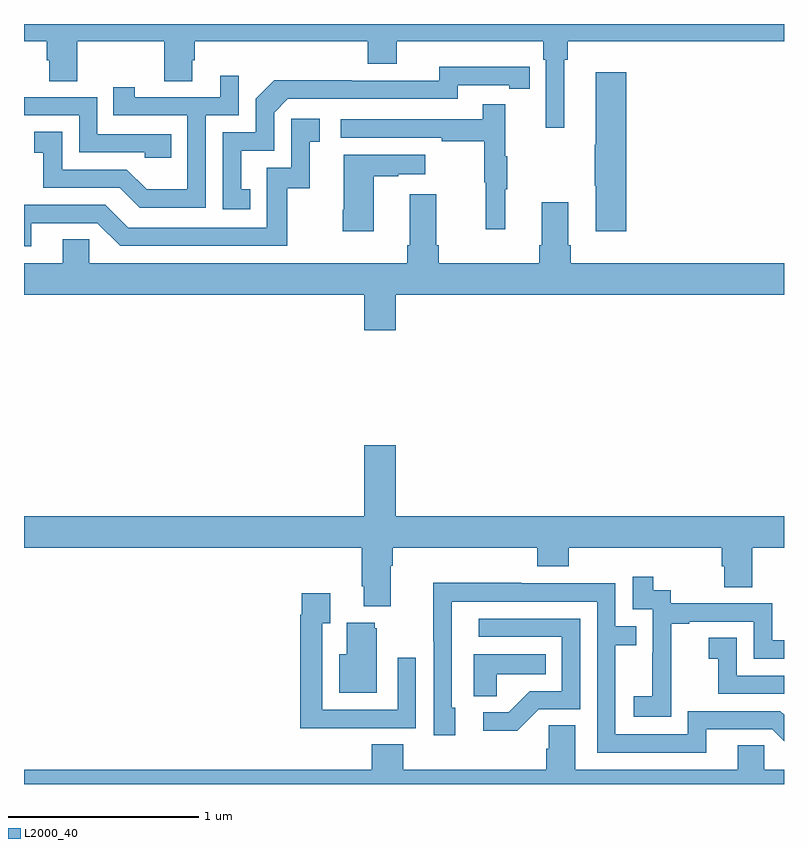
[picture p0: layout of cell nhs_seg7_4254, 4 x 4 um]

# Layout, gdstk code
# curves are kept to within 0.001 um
import gdstk
lib = gdstk.Library(unit=1e-6, precision=1e-09)
def P(c, l, *ps):  # polygons
    for p in ps: c.add(gdstk.Polygon(p, *l))
L2000_40 = (2000, 40)

nhs_seg7_4254 = lib.new_cell('nhs_seg7_4254')
P(nhs_seg7_4254, L2000_40, [(381.844,1041.812),(381.863,1041.812),(381.863,1041.908),(383,1041.908),(383,1042),(379,1042),(379,1041.908),(379.121,1041.908),(379.121,1041.81),(379.133,1041.81),(379.133,1041.7),(379.281,1041.7),(379.281,1041.908),(379.738,1041.908),(379.738,1041.7),(379.885,1041.7),(379.885,1041.81),(379.898,1041.81),(379.898,1041.908),(380.81,1041.908),(380.81,1041.791),(380.962,1041.791),(380.962,1041.908),(381.734,1041.908),(381.734,1041.812),(381.747,1041.812),(381.747,1041.453),(381.844,1041.453)],
  [(380.192,1041.129),(380.143,1041.129),(380.143,1041.333),(380.316,1041.333),(380.316,1041.534),(380.388,1041.606),(381.282,1041.606),(381.282,1041.678),(381.554,1041.678),(381.554,1041.658),(381.662,1041.658),(381.662,1041.774),(381.186,1041.775),(381.186,1041.702),(380.726,1041.702),(380.726,1041.704),(380.318,1041.704),(380.22,1041.606),(380.22,1041.429),(380.046,1041.429),(380.046,1041.024),(380.192,1041.024)],
  [(382.169,1041.745),(382.01,1041.745),(382.01,1041.365),(382.003,1041.365),(382.003,1041.148),(382.01,1041.148),(382.01,1040.91),(382.169,1040.91)],
  [(379.956,1041.519),(380.13,1041.519),(380.13,1041.727),(380.033,1041.727),(380.033,1041.615),(379.582,1041.615),(379.582,1041.667),(379.471,1041.667),(379.471,1041.519),(379.86,1041.519),(379.86,1041.13),(379.646,1041.13),(379.542,1041.234),(379.2,1041.234),(379.2,1041.433),(379.053,1041.433),(379.053,1041.323),(379.102,1041.323),(379.102,1041.138),(379.505,1041.138),(379.61,1041.033),(379.956,1041.033)],
  [(379.775,1041.42),(379.386,1041.42),(379.386,1041.615),(379,1041.615),(379,1041.519),(379.29,1041.519),(379.29,1041.324),(379.635,1041.324),(379.635,1041.297),(379.775,1041.297)],
  [(381.533,1041.131),(381.544,1041.131),(381.544,1041.305),(381.533,1041.305),(381.533,1041.577),(381.415,1041.577),(381.415,1041.498),(380.667,1041.498),(380.667,1041.402),(381.199,1041.402),(381.199,1041.382),(381.423,1041.382),(381.423,1041.168),(381.43,1041.168),(381.43,1040.919),(381.533,1040.919)],
  [(379.039,1040.952),(379.386,1040.952),(379.506,1040.832),(380.386,1040.832),(380.386,1041.135),(380.504,1041.135),(380.504,1041.381),(380.557,1041.381),(380.557,1041.502),(380.406,1041.502),(380.406,1041.243),(380.277,1041.243),(380.277,1040.928),(379.548,1040.928),(379.428,1041.048),(379,1041.048),(379,1040.829),(379.039,1040.829)],
  [(380.842,1041.199),(380.969,1041.199),(380.969,1041.209),(381.112,1041.209),(381.112,1041.313),(380.684,1041.313),(380.684,1041.022),(380.677,1041.022),(380.677,1040.91),(380.842,1040.91)],
  [(380.956,1040.576),(383,1040.576),(383,1040.74),(381.878,1040.74),(381.878,1040.836),(381.865,1040.836),(381.865,1041.061),(381.725,1041.061),(381.725,1040.836),(381.713,1040.836),(381.713,1040.74),(381.182,1040.74),(381.182,1040.836),(381.169,1040.836),(381.169,1041.103),(381.029,1041.103),(381.029,1040.836),(381.017,1040.836),(381.017,1040.74),(379.344,1040.74),(379.344,1040.867),(379.205,1040.867),(379.205,1040.74),(379,1040.74),(379,1040.576),(380.792,1040.576),(380.792,1040.388),(380.956,1040.388)],
  [(380.929,1039.148),(380.942,1039.148),(380.942,1039.244),(381.701,1039.244),(381.701,1039.145),(381.866,1039.145),(381.866,1039.244),(382.673,1039.244),(382.673,1039.146),(382.685,1039.146),(382.685,1039.036),(382.833,1039.036),(382.833,1039.244),(383,1039.244),(383,1039.408),(380.956,1039.408),(380.956,1039.783),(380.792,1039.783),(380.792,1039.408),(379,1039.408),(379,1039.244),(380.777,1039.244),(380.777,1039.042),(380.789,1039.042),(380.789,1038.935),(380.929,1038.935)],
  [(382.407,1038.559),(382.406,1038.559),(382.406,1038.843),(382.501,1038.843),(382.501,1038.855),(382.842,1038.855),(382.842,1038.66),(383,1038.66),(383,1038.756),(382.938,1038.756),(382.938,1038.951),(382.404,1038.951),(382.404,1039.02),(382.312,1039.02),(382.312,1039.09),(382.203,1039.09),(382.203,1038.921),(382.308,1038.921),(382.308,1038.692),(382.307,1038.692),(382.307,1038.463),(382.209,1038.463),(382.209,1038.353),(382.407,1038.353)],
  [(382.591,1038.288),(382.938,1038.288),(383,1038.226),(383,1038.364),(382.98,1038.384),(382.494,1038.384),(382.494,1038.261),(382.113,1038.261),(382.113,1038.73),(382.223,1038.73),(382.223,1038.831),(382.113,1038.831),(382.113,1039.056),(381.617,1039.056),(381.617,1039.058),(381.154,1039.058),(381.154,1038.751),(381.156,1038.751),(381.156,1038.257),(381.271,1038.257),(381.271,1038.402),(381.252,1038.402),(381.252,1038.96),(382.017,1038.96),(382.017,1038.165),(382.591,1038.165)],
  [(380.747,1038.294),(381.063,1038.294),(381.063,1038.664),(380.967,1038.664),(380.967,1038.39),(380.571,1038.39),(380.571,1038.847),(380.611,1038.847),(380.611,1039.003),(380.463,1039.003),(380.463,1038.89),(380.455,1038.89),(380.455,1038.293),(380.747,1038.293)],
  [(381.708,1038.393),(381.927,1038.393),(381.927,1038.87),(381.393,1038.87),(381.393,1038.774),(381.831,1038.774),(381.831,1038.489),(381.662,1038.489),(381.551,1038.378),(381.417,1038.378),(381.417,1038.281),(381.595,1038.281)],
  [(380.857,1038.819),(380.846,1038.819),(380.846,1038.85),(380.699,1038.85),(380.699,1038.682),(380.66,1038.682),(380.66,1038.479),(380.857,1038.479)],
  [(383,1038.57),(382.752,1038.57),(382.752,1038.769),(382.605,1038.769),(382.605,1038.659),(382.654,1038.659),(382.654,1038.474),(383,1038.474)],
  [(381.489,1038.578),(381.746,1038.578),(381.746,1038.682),(381.368,1038.682),(381.368,1038.463),(381.489,1038.463)],
  [(383,1038.076),(382.896,1038.076),(382.896,1038.203),(382.757,1038.203),(382.757,1038.076),(381.901,1038.076),(381.901,1038.308),(381.762,1038.308),(381.762,1038.185),(381.749,1038.185),(381.749,1038.076),(380.996,1038.076),(380.996,1038.209),(380.831,1038.209),(380.831,1038.076),(379,1038.076),(379,1038),(383,1038)])

lib.write_gds('nhs_seg7_4254.gds')
